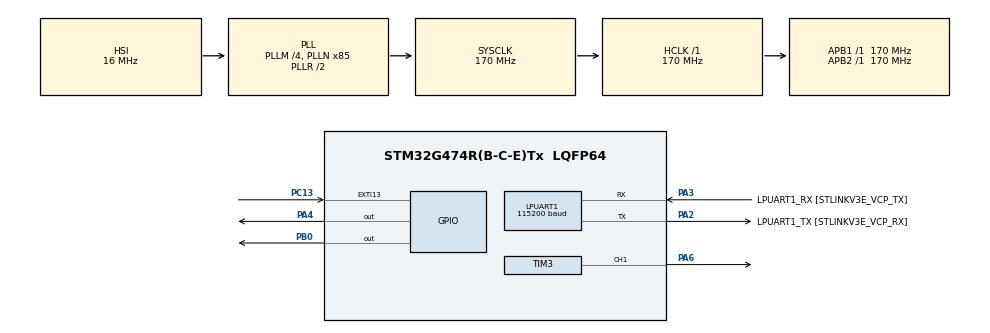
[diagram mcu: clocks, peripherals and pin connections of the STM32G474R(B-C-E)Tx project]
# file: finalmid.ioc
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LPUART1.BaudRate=115200
Mcu.Family=STM32G4
Mcu.Name=STM32G474R(B-C-E)Tx
Mcu.Package=LQFP64
NVIC.EXTI15_10_IRQn=true\:0\:0\:false\:false\:true\:true\:true\:true
NVIC.LPUART1_IRQn=true\:0\:0\:false\:false\:true\:true\:true\:true
NVIC.PriorityGroup=NVIC_PRIORITYGROUP_4
PA13.GPIO_Label=T_SWDIO
PA13.Signal=SYS_JTMS-SWDIO
PA14.GPIO_Label=T_SWCLK
PA14.Signal=SYS_JTCK-SWCLK
PA2.GPIO_Label=LPUART1_TX [STLINKV3E_VCP_RX]
PA2.Mode=Asynchronous
PA2.Signal=LPUART1_TX
PA3.GPIO_Label=LPUART1_RX [STLINKV3E_VCP_TX]
PA3.Mode=Asynchronous
PA3.Signal=LPUART1_RX
PA4.Signal=GPIO_Output
PA6.Signal=S_TIM3_CH1
PB0.Signal=GPIO_Output
PB3.GPIO_Label=T_SWO
PB3.Signal=SYS_JTDO-SWO
PC13.GPIO_PuPd=GPIO_PULLDOWN
PC13.Signal=GPXTI13
PC14-OSC32_IN.GPIO_Label=RCC_OSC32_IN
PC14-OSC32_IN.Signal=RCC_OSC32_IN
PC15-OSC32_OUT.GPIO_Label=RCC_OSC32_OUT
PC15-OSC32_OUT.Signal=RCC_OSC32_OUT
PF0-OSC_IN.GPIO_Label=RCC_OSC_IN
PF0-OSC_IN.Signal=RCC_OSC_IN
PF1-OSC_OUT.GPIO_Label=RCC_OSC_OUT
PF1-OSC_OUT.Signal=RCC_OSC_OUT
ProjectManager.HeapSize=0x200
ProjectManager.StackSize=0x400
ProjectManager.TargetToolchain=STM32CubeIDE
RCC.ADC12Freq_Value=170000000
RCC.ADC345Freq_Value=170000000
RCC.AHBFreq_Value=170000000
RCC.APB1Freq_Value=170000000
RCC.APB1TimFreq_Value=170000000
RCC.APB2Freq_Value=170000000
RCC.APB2TimFreq_Value=170000000
RCC.CortexFreq_Value=170000000
RCC.EXTERNAL_CLOCK_VALUE=12288000
RCC.HCLKFreq_Value=170000000
RCC.HSE_VALUE=24000000
RCC.HSI48_VALUE=48000000
RCC.HSI_VALUE=16000000
RCC.LSE_VALUE=32768
RCC.PLLM=RCC_PLLM_DIV4
RCC.PLLN=85
RCC.RTCClockSelection=RCC_RTCCLKSOURCE_LSE
RCC.SYSCLKFreq_VALUE=170000000
RCC.SYSCLKSource=RCC_SYSCLKSOURCE_PLLCLK
RCC.USBFreq_Value=170000000
RCC.VCOOutputFreq_Value=340000000
SH.S_TIM3_CH1.0=TIM3_CH1,PWM Generation1 CH1
TIM3.Channel-PWM\ Generation1\ CH1=TIM_CHANNEL_1
TIM3.PeriodNoDither=999
TIM3.Prescaler=169
VP_SYS_VS_DBSignals.Mode=DisableDeadBatterySignals
board=NUCLEO-G474RE

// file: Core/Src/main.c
/* USER CODE BEGIN Header */
/**
  ******************************************************************************
  * @file           : main.c
  * @brief          : Smart Soap Mixing Workstation (h in Duty Percentage %)
  ******************************************************************************
  */
/* USER CODE END Header */
#include "main.h"

/* USER CODE BEGIN Includes */
#include <stdio.h>
#include <string.h>
#include <stdlib.h>
/* USER CODE END Includes */

/* USER CODE BEGIN PTD */
typedef enum {
    STATE_IDLE = 0,
    STATE_MODE1,
    STATE_MODE2,
    STATE_MODE3,
    STATE_EMERGENCY
} WorkstationState_t;

typedef struct {
    uint8_t  heater_duty;     // 0 ~ 100 (%) (硬體 PWM 加熱百分比)
    uint8_t  soft_pwm_duty;   // 0 ~ 100 (%) (綠燈軟體 PWM 百分比)
    uint16_t blink_period_ms; // 綠燈閃爍週期 (ms)
    uint32_t duration_ms;     // 停留時間 (ms)
} StateConfig_t;
/* USER CODE END PTD */

/* USER CODE BEGIN PD */
#define SOFT_PWM_PERIOD_MS    10    // 軟體 PWM 週期 (10ms)
#define DEBOUNCE_DELAY_MS     150   // 按鈕去彈跳時間 (ms)
#define RX_BUF_SIZE           64    // 串口接收緩衝區長度

#ifndef GREEN_LED_Pin
#define GREEN_LED_Pin GPIO_PIN_4
#define GREEN_LED_GPIO_Port GPIOA
#endif

#ifndef RED_LED_Pin
#define RED_LED_Pin GPIO_PIN_0
#define RED_LED_GPIO_Port GPIOB
#endif

#ifndef USER_BTN_Pin
#define USER_BTN_Pin GPIO_PIN_13
#define USER_BTN_GPIO_Port GPIOC
#endif
/* USER CODE END PD */

UART_HandleTypeDef hlpuart1;
TIM_HandleTypeDef htim3;

/* USER CODE BEGIN PV */
volatile WorkstationState_t g_system_state = STATE_IDLE;
uint32_t g_state_start_tick = 0;

uint8_t rx_byte = 0;
char rx_buf[RX_BUF_SIZE];
uint8_t rx_idx = 0;
char cmd_str[RX_BUF_SIZE];
volatile uint8_t g_cmd_flag = 0;

// 動態配方配置表 (h 改為 0~100%)
StateConfig_t g_state_lut[] = {
    [STATE_IDLE]      = { .heater_duty = 0,   .soft_pwm_duty = 5,   .blink_period_ms = 2000, .duration_ms = 0     },
    [STATE_MODE1]     = { .heater_duty = 30,  .soft_pwm_duty = 30,  .blink_period_ms = 1000, .duration_ms = 5000  },
    [STATE_MODE2]     = { .heater_duty = 60,  .soft_pwm_duty = 60,  .blink_period_ms = 500,  .duration_ms = 10000 },
    [STATE_MODE3]     = { .heater_duty = 100, .soft_pwm_duty = 100, .blink_period_ms = 200,  .duration_ms = 5000  },
    [STATE_EMERGENCY] = { .heater_duty = 0,   .soft_pwm_duty = 0,   .blink_period_ms = 0,    .duration_ms = 0     }
};
/* USER CODE END PV */

void SystemClock_Config(void);
static void MX_GPIO_Init(void);
static void MX_LPUART1_UART_Init(void);
static void MX_TIM3_Init(void);

/* USER CODE BEGIN PFP */
void Report_Status(void);
void Change_State(WorkstationState_t new_state);
void Process_FSM_Logic(uint32_t current_tick);
void Update_SoftPWM_And_Blink(uint32_t current_tick);
void Process_Command(char* cmd);
/* USER CODE END PFP */

/* USER CODE BEGIN 0 */
int __io_putchar(int ch) {
    HAL_UART_Transmit(&hlpuart1, (uint8_t *)&ch, 1, HAL_MAX_DELAY);
    return ch;
}

void HAL_UART_RxCpltCallback(UART_HandleTypeDef *huart) {
    if (huart->Instance == LPUART1) {
        if (rx_byte == '\r' || rx_byte == '\n') {
            if (rx_idx > 0) {
                rx_buf[rx_idx] = '\0';
                strcpy(cmd_str, rx_buf);
                rx_idx = 0;
                g_cmd_flag = 1;
            }
        } else {
            if (rx_idx < (RX_BUF_SIZE - 1)) {
                rx_buf[rx_idx++] = rx_byte;
            }
        }
        HAL_UART_Receive_IT(&hlpuart1, &rx_byte, 1);
    }
}

void HAL_GPIO_EXTI_Callback(uint16_t GPIO_Pin) {
    if (GPIO_Pin == USER_BTN_Pin) {
        static uint32_t last_exti_tick = 0;
        uint32_t now = HAL_GetTick();

        if ((now - last_exti_tick) > DEBOUNCE_DELAY_MS) {
            if (HAL_GPIO_ReadPin(USER_BTN_GPIO_Port, USER_BTN_Pin) == GPIO_PIN_SET) {
                Change_State(STATE_EMERGENCY);
            }
            last_exti_tick = now;
        }
    }
}
/* USER CODE END 0 */

int main(void)
{
  HAL_Init();
  SystemClock_Config();

  MX_GPIO_Init();
  MX_LPUART1_UART_Init();
  MX_TIM3_Init();

  /* USER CODE BEGIN 2 */
  HAL_TIM_PWM_Start(&htim3, TIM_CHANNEL_1);
  HAL_UART_Receive_IT(&hlpuart1, &rx_byte, 1);

  printf("\r\n==================================================\r\n");
  printf(" STM32G474RE Soap Station (h & s in Percentage %%) \r\n");
  printf(" Format: m1=t,s%%,h%% | all=t1,s1%%,h1%%,t2,s2%%,h2%%...\r\n");
  printf("==================================================\r\n");

  g_state_start_tick = HAL_GetTick();
  Report_Status();
  /* USER CODE END 2 */

  /* USER CODE BEGIN WHILE */
  while (1)
  {
      uint32_t current_tick = HAL_GetTick();

      if (g_cmd_flag) {
          g_cmd_flag = 0;
          Process_Command(cmd_str);
      }

      Process_FSM_Logic(current_tick);
      Update_SoftPWM_And_Blink(current_tick);
    /* USER CODE END WHILE */

  }
}

void Report_Status(void) {
    const char *state_names[] = {"IDLE", "MODE1", "MODE2", "MODE3", "EMERGENCY"};
    StateConfig_t config = g_state_lut[g_system_state];

    printf("[UPDATE] State: %-9s | Heater: %3d%% | SoftPWM: %3d%% | Target Time: %lds\r\n",
           state_names[g_system_state],
           config.heater_duty,
           config.soft_pwm_duty,
           config.duration_ms / 1000);
}

void Change_State(WorkstationState_t new_state) {
    if (g_system_state != new_state) {
        g_system_state = new_state;
        g_state_start_tick = HAL_GetTick();
        Report_Status();
    }
}

void Process_FSM_Logic(uint32_t current_tick) {
    StateConfig_t config = g_state_lut[g_system_state];

    // 將 0~100% 換算為 TIM3 CCR 計數值 (100% -> 1000)
    uint16_t ccr_val = (uint16_t)config.heater_duty * 10;
    __HAL_TIM_SET_COMPARE(&htim3, TIM_CHANNEL_1, ccr_val);

    if (g_system_state == STATE_EMERGENCY) {
        HAL_GPIO_WritePin(RED_LED_GPIO_Port, RED_LED_Pin, GPIO_PIN_SET);
        return;
    } else {
        HAL_GPIO_WritePin(RED_LED_GPIO_Port, RED_LED_Pin, GPIO_PIN_RESET);
    }

    if (g_system_state != STATE_IDLE && config.duration_ms > 0) {
        if ((current_tick - g_state_start_tick) >= config.duration_ms) {
            switch (g_system_state) {
                case STATE_MODE1: Change_State(STATE_MODE2); break;
                case STATE_MODE2: Change_State(STATE_MODE3); break;
                case STATE_MODE3:
                    printf("\r\n[PROCESS DONE] Recipe execution completed!\r\n");
                    Change_State(STATE_IDLE);
                    break;
                default: break;
            }
        }
    }
}

void Process_Command(char* cmd) {
    if (g_system_state == STATE_EMERGENCY) {
        if (strcmp(cmd, "R") == 0 || strcmp(cmd, "r") == 0) {
            Change_State(STATE_IDLE);
        } else {
            printf("[WARN] Emergency Active! Command '%s' Ignored. Send 'R' to reset.\r\n", cmd);
        }
        return;
    }

    // 1. 單獨設定單一模式：m1=t,s,h 或 m2=t,s,h 或 m3=t,s,h
    if (strncmp(cmd, "m1=", 3) == 0 || strncmp(cmd, "m2=", 3) == 0 || strncmp(cmd, "m3=", 3) == 0) {
        uint32_t t, s, h;
        int mode_num = cmd[1] - '0';
        WorkstationState_t target_state = (mode_num == 1) ? STATE_MODE1 :
                                          (mode_num == 2) ? STATE_MODE2 : STATE_MODE3;

        char fmt[16];
        snprintf(fmt, sizeof(fmt), "m%d=%%lu,%%lu,%%lu", mode_num);

        if (sscanf(cmd, fmt, &t, &s, &h) == 3) {
            if (s > 100) s = 100;
            if (h > 100) h = 100; // 邊界限制為 100%

            g_state_lut[target_state].duration_ms = t * 1000;
            g_state_lut[target_state].soft_pwm_duty = (uint8_t)s;
            g_state_lut[target_state].heater_duty = (uint8_t)h;
            g_state_lut[target_state].blink_period_ms = (s > 0) ? (30000 / (s + 10)) : 2000;

            printf("\r\n[ACK] MODE%d Successfully Updated: t=%lus, s=%lu%%, h=%lu%%\r\n", mode_num, t, s, h);
        } else {
            printf("\r\n[ERR] Invalid Format! Example: m%d=5,30,30\r\n", mode_num);
        }
        return;
    }

    // 2. 一次設定全部模式：all=t1,s1,h1,t2,s2,h2,t3,s3,h3
    if (strncmp(cmd, "all=", 4) == 0) {
        uint32_t t1, t2, t3, s1, s2, s3, h1, h2, h3;

        int ret = sscanf(cmd, "all=%lu,%lu,%lu,%lu,%lu,%lu,%lu,%lu,%lu",
                         &t1, &s1, &h1, &t2, &s2, &h2, &t3, &s3, &h3);

        if (ret == 9) {
            if (s1 > 100) s1 = 100; if (s2 > 100) s2 = 100; if (s3 > 100) s3 = 100;
            if (h1 > 100) h1 = 100; if (h2 > 100) h2 = 100; if (h3 > 100) h3 = 100; // 邊界限制為 100%

            g_state_lut[STATE_MODE1].duration_ms = t1 * 1000;
            g_state_lut[STATE_MODE1].soft_pwm_duty = (uint8_t)s1;
            g_state_lut[STATE_MODE1].heater_duty = (uint8_t)h1;
            g_state_lut[STATE_MODE1].blink_period_ms = (s1 > 0) ? (30000 / (s1 + 10)) : 2000;

            g_state_lut[STATE_MODE2].duration_ms = t2 * 1000;
            g_state_lut[STATE_MODE2].soft_pwm_duty = (uint8_t)s2;
            g_state_lut[STATE_MODE2].heater_duty = (uint8_t)h2;
            g_state_lut[STATE_MODE2].blink_period_ms = (s2 > 0) ? (30000 / (s2 + 10)) : 2000;

            g_state_lut[STATE_MODE3].duration_ms = t3 * 1000;
            g_state_lut[STATE_MODE3].soft_pwm_duty = (uint8_t)s3;
            g_state_lut[STATE_MODE3].heater_duty = (uint8_t)h3;
            g_state_lut[STATE_MODE3].blink_period_ms = (s3 > 0) ? (30000 / (s3 + 10)) : 2000;

            printf("\r\n[ACK] ALL Modes Successfully Updated!\r\n");
            printf("  MODE1: %lus, s=%lu%%, h=%lu%%\r\n", t1, s1, h1);
            printf("  MODE2: %lus, s=%lu%%, h=%lu%%\r\n", t2, s2, h2);
            printf("  MODE3: %lus, s=%lu%%, h=%lu%%\r\n", t3, s3, h3);
        } else {
            printf("\r\n[ERR] Invalid Format! Example: all=6,15,20,6,50,60,6,100,100\r\n");
        }
        return;
    }

    // 3. 單字元動作指令
    if (strcmp(cmd, "S") == 0 || strcmp(cmd, "s") == 0) {
        if (g_system_state == STATE_IDLE) {
            Change_State(STATE_MODE1);
        } else {
            printf("[WARN] Process is already running!\r\n");
        }
    }
    else if (strcmp(cmd, "E") == 0 || strcmp(cmd, "e") == 0) {
        Change_State(STATE_EMERGENCY);
    }
    else if (strcmp(cmd, "0") == 0) {
        Change_State(STATE_IDLE);
    }
    else {
        printf("[WARN] Unknown Command: '%s'\r\n", cmd);
    }
}

void Update_SoftPWM_And_Blink(uint32_t current_tick) {
    if (g_system_state == STATE_EMERGENCY) {
        HAL_GPIO_WritePin(GREEN_LED_GPIO_Port, GREEN_LED_Pin, GPIO_PIN_RESET);
        return;
    }

    StateConfig_t config = g_state_lut[g_system_state];

    uint32_t blink_time = current_tick % config.blink_period_ms;
    uint8_t blink_active = (blink_time < (config.blink_period_ms / 2)) ? 1 : 0;

    uint32_t soft_pwm_time = current_tick % SOFT_PWM_PERIOD_MS;
    uint32_t threshold = (SOFT_PWM_PERIOD_MS * config.soft_pwm_duty) / 100;

    if (blink_active && (soft_pwm_time < threshold)) {
        HAL_GPIO_WritePin(GREEN_LED_GPIO_Port, GREEN_LED_Pin, GPIO_PIN_SET);
    } else {
        HAL_GPIO_WritePin(GREEN_LED_GPIO_Port, GREEN_LED_Pin, GPIO_PIN_RESET);
    }
}

void SystemClock_Config(void) {
    RCC_OscInitTypeDef RCC_OscInitStruct = {0};
    RCC_ClkInitTypeDef RCC_ClkInitStruct = {0};
    HAL_PWREx_ControlVoltageScaling(PWR_REGULATOR_VOLTAGE_SCALE1_BOOST);
    RCC_OscInitStruct.OscillatorType = RCC_OSCILLATORTYPE_HSI;
    RCC_OscInitStruct.HSIState = RCC_HSI_ON;
    RCC_OscInitStruct.HSICalibrationValue = RCC_HSICALIBRATION_DEFAULT;
    RCC_OscInitStruct.PLL.PLLState = RCC_PLL_ON;
    RCC_OscInitStruct.PLL.PLLSource = RCC_PLLSOURCE_HSI;
    RCC_OscInitStruct.PLL.PLLM = RCC_PLLM_DIV4;
    RCC_OscInitStruct.PLL.PLLN = 85;
    RCC_OscInitStruct.PLL.PLLP = RCC_PLLP_DIV2;
    RCC_OscInitStruct.PLL.PLLQ = RCC_PLLQ_DIV2;
    RCC_OscInitStruct.PLL.PLLR = RCC_PLLR_DIV2;
    HAL_RCC_OscConfig(&RCC_OscInitStruct);
    RCC_ClkInitStruct.ClockType = RCC_CLOCKTYPE_HCLK|RCC_CLOCKTYPE_SYSCLK|RCC_CLOCKTYPE_PCLK1|RCC_CLOCKTYPE_PCLK2;
    RCC_ClkInitStruct.SYSCLKSource = RCC_SYSCLKSOURCE_PLLCLK;
    RCC_ClkInitStruct.AHBCLKDivider = RCC_SYSCLK_DIV1;
    RCC_ClkInitStruct.APB1CLKDivider = RCC_HCLK_DIV1;
    RCC_ClkInitStruct.APB2CLKDivider = RCC_HCLK_DIV1;
    HAL_RCC_ClockConfig(&RCC_ClkInitStruct, FLASH_LATENCY_4);
}

static void MX_LPUART1_UART_Init(void) {
    hlpuart1.Instance = LPUART1;
    hlpuart1.Init.BaudRate = 115200;
    hlpuart1.Init.WordLength = UART_WORDLENGTH_8B;
    hlpuart1.Init.StopBits = UART_STOPBITS_1;
    hlpuart1.Init.Parity = UART_PARITY_NONE;
    hlpuart1.Init.Mode = UART_MODE_TX_RX;
    hlpuart1.Init.HwFlowCtl = UART_HWCONTROL_NONE;
    hlpuart1.Init.OneBitSampling = UART_ONE_BIT_SAMPLE_DISABLE;
    hlpuart1.Init.ClockPrescaler = UART_PRESCALER_DIV1;
    hlpuart1.AdvancedInit.AdvFeatureInit = UART_ADVFEATURE_NO_INIT;
    HAL_UART_Init(&hlpuart1);
}

static void MX_TIM3_Init(void) {
    TIM_MasterConfigTypeDef sMasterConfig = {0};
    TIM_OC_InitTypeDef sConfigOC = {0};
    htim3.Instance = TIM3;
    htim3.Init.Prescaler = 169;
    htim3.Init.CounterMode = TIM_COUNTERMODE_UP;
    htim3.Init.Period = 999;
    htim3.Init.ClockDivision = TIM_CLOCKDIVISION_DIV1;
    htim3.Init.AutoReloadPreload = TIM_AUTORELOAD_PRELOAD_DISABLE;
    HAL_TIM_PWM_Init(&htim3);
    sMasterConfig.MasterOutputTrigger = TIM_TRGO_RESET;
    sMasterConfig.MasterSlaveMode = TIM_MASTERSLAVEMODE_DISABLE;
    HAL_TIMEx_MasterConfigSynchronization(&htim3, &sMasterConfig);
    sConfigOC.OCMode = TIM_OCMODE_PWM1;
    sConfigOC.Pulse = 0;
    sConfigOC.OCPolarity = TIM_OCPOLARITY_HIGH;
    sConfigOC.OCFastMode = TIM_OCFAST_DISABLE;
    HAL_TIM_PWM_ConfigChannel(&htim3, &sConfigOC, TIM_CHANNEL_1);
    HAL_TIM_MspPostInit(&htim3);
}

static void MX_GPIO_Init(void) {
    GPIO_InitTypeDef GPIO_InitStruct = {0};
    __HAL_RCC_GPIOC_CLK_ENABLE();
    __HAL_RCC_GPIOF_CLK_ENABLE();
    __HAL_RCC_GPIOA_CLK_ENABLE();
    __HAL_RCC_GPIOB_CLK_ENABLE();
    HAL_GPIO_WritePin(GPIOA, GPIO_PIN_4, GPIO_PIN_RESET);
    HAL_GPIO_WritePin(GPIOB, GPIO_PIN_0, GPIO_PIN_RESET);

    GPIO_InitStruct.Pin = GPIO_PIN_13;
    GPIO_InitStruct.Mode = GPIO_MODE_IT_RISING;
    GPIO_InitStruct.Pull = GPIO_PULLDOWN;
    HAL_GPIO_Init(GPIOC, &GPIO_InitStruct);

    GPIO_InitStruct.Pin = GPIO_PIN_4;
    GPIO_InitStruct.Mode = GPIO_MODE_OUTPUT_PP;
    GPIO_InitStruct.Pull = GPIO_NOPULL;
    GPIO_InitStruct.Speed = GPIO_SPEED_FREQ_LOW;
    HAL_GPIO_Init(GPIOA, &GPIO_InitStruct);

    GPIO_InitStruct.Pin = GPIO_PIN_0;
    GPIO_InitStruct.Mode = GPIO_MODE_OUTPUT_PP;
    GPIO_InitStruct.Pull = GPIO_NOPULL;
    GPIO_InitStruct.Speed = GPIO_SPEED_FREQ_LOW;
    HAL_GPIO_Init(GPIOB, &GPIO_InitStruct);

    HAL_NVIC_SetPriority(EXTI15_10_IRQn, 2, 0);
    HAL_NVIC_EnableIRQ(EXTI15_10_IRQn);
    HAL_NVIC_SetPriority(LPUART1_IRQn, 1, 0);
    HAL_NVIC_EnableIRQ(LPUART1_IRQn);
}

/* USER CODE END 4 */

void Error_Handler(void)
{
  __disable_irq();
  while (1)
  {
  }
}
